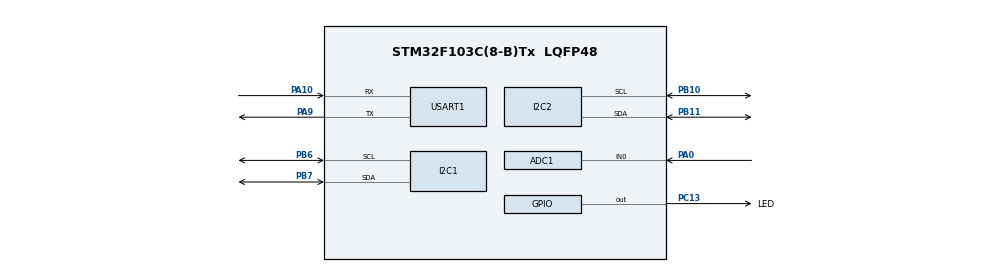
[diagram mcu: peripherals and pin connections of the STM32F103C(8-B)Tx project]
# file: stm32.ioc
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ADC1.Channel-0\#ChannelRegularConversion=ADC_CHANNEL_0
ADC1.NbrOfConversionFlag=1
ADC1.Rank-0\#ChannelRegularConversion=1
ADC1.SamplingTime-0\#ChannelRegularConversion=ADC_SAMPLETIME_1CYCLE_5
ADC1.master=1
Dma.ADC1.1.Direction=DMA_PERIPH_TO_MEMORY
Dma.ADC1.1.Instance=DMA1_Channel1
Dma.ADC1.1.MemDataAlignment=DMA_MDATAALIGN_HALFWORD
Dma.ADC1.1.MemInc=DMA_MINC_ENABLE
Dma.ADC1.1.Mode=DMA_NORMAL
Dma.ADC1.1.PeriphDataAlignment=DMA_PDATAALIGN_HALFWORD
Dma.ADC1.1.PeriphInc=DMA_PINC_DISABLE
Dma.ADC1.1.Priority=DMA_PRIORITY_LOW
Dma.Request0=USART1_RX
Dma.Request1=ADC1
Dma.USART1_RX.0.Direction=DMA_PERIPH_TO_MEMORY
Dma.USART1_RX.0.Instance=DMA1_Channel5
Dma.USART1_RX.0.MemDataAlignment=DMA_MDATAALIGN_BYTE
Dma.USART1_RX.0.MemInc=DMA_MINC_ENABLE
Dma.USART1_RX.0.Mode=DMA_NORMAL
Dma.USART1_RX.0.PeriphDataAlignment=DMA_PDATAALIGN_BYTE
Dma.USART1_RX.0.PeriphInc=DMA_PINC_DISABLE
Dma.USART1_RX.0.Priority=DMA_PRIORITY_LOW
I2C1.I2C_Mode=I2C_Fast
Mcu.Family=STM32F1
Mcu.Name=STM32F103C(8-B)Tx
Mcu.Package=LQFP48
NVIC.DMA1_Channel1_IRQn=true\:0\:0\:false\:false\:true\:false\:true\:true
NVIC.DMA1_Channel5_IRQn=true\:0\:0\:false\:false\:true\:false\:true\:true
NVIC.PriorityGroup=NVIC_PRIORITYGROUP_4
NVIC.USART1_IRQn=true\:0\:0\:false\:false\:true\:true\:true\:true
PA0-WKUP.Signal=ADCx_IN0
PA10.Mode=Asynchronous
PA10.Signal=USART1_RX
PA13.Mode=Serial_Wire
PA13.Signal=SYS_JTMS-SWDIO
PA14.Mode=Serial_Wire
PA14.Signal=SYS_JTCK-SWCLK
PA9.Mode=Asynchronous
PA9.Signal=USART1_TX
PB10.Mode=I2C
PB10.Signal=I2C2_SCL
PB11.Mode=I2C
PB11.Signal=I2C2_SDA
PB6.Mode=I2C
PB6.Signal=I2C1_SCL
PB7.Mode=I2C
PB7.Signal=I2C1_SDA
PC13-TAMPER-RTC.GPIO_Label=LED
PC13-TAMPER-RTC.PinState=GPIO_PIN_RESET
PC13-TAMPER-RTC.Signal=GPIO_Output
PD0-OSC_IN.Mode=HSE-External-Oscillator
PD0-OSC_IN.Signal=RCC_OSC_IN
PD1-OSC_OUT.Mode=HSE-External-Oscillator
PD1-OSC_OUT.Signal=RCC_OSC_OUT
ProjectManager.HeapSize=0x200
ProjectManager.StackSize=0x400
ProjectManager.TargetToolchain=STM32CubeIDE
RCC.APB1Freq_Value=8000000
RCC.APB2Freq_Value=8000000
SH.ADCx_IN0.0=ADC1_IN0,IN0
USART1.VirtualMode=VM_ASYNC
board=custom

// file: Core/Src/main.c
/* USER CODE BEGIN Header */
/**
 ******************************************************************************
 * @file           : main.c
 * @brief          : Main program body
 ******************************************************************************
 * @attention
 *
 * Copyright (c) 2025 STMicroelectronics.
 * All rights reserved.
 *
 * This software is licensed under terms that can be found in the LICENSE file
 * in the root directory of this software component.
 * If no LICENSE file comes with this software, it is provided AS-IS.
 *
 ******************************************************************************
 */
/* USER CODE END Header */
#include "main.h"

/* USER CODE BEGIN Includes */
#include "adc/adc.h"
#include "i2c/i2c.h"
#include "time/time.h"

#include "mpu/mpu.h"

#include "game/game.h"
/* USER CODE END Includes */

ADC_HandleTypeDef hadc1;
DMA_HandleTypeDef hdma_adc1;

I2C_HandleTypeDef hi2c1;
I2C_HandleTypeDef hi2c2;

UART_HandleTypeDef huart1;
DMA_HandleTypeDef hdma_usart1_rx;

void SystemClock_Config(void);
static void MX_GPIO_Init(void);
static void MX_DMA_Init(void);
static void MX_USART1_UART_Init(void);
static void MX_I2C1_Init(void);
static void MX_ADC1_Init(void);
static void MX_I2C2_Init(void);

int main(void)
{

  /* MCU Configuration--------------------------------------------------------*/

  /* Reset of all peripherals, Initializes the Flash interface and the Systick. */
  HAL_Init();

  /* USER CODE BEGIN Init */
  struct BSP_OLED_TypeDef oled = {E_I2C_1, 0x78};
  struct BSP_MPU_TypeDef mpu   = {E_I2C_2, 0x68 << 1};
  struct game_t game;

  float k = 150.f;
  /* USER CODE END Init */

  /* Configure the system clock */
  SystemClock_Config();

  /* Initialize all configured peripherals */
  MX_GPIO_Init();
  MX_DMA_Init();
  MX_USART1_UART_Init();
  MX_I2C1_Init();
  MX_ADC1_Init();
  MX_I2C2_Init();
  /* USER CODE BEGIN 2 */
  BSP_ADC_Init(&hadc1);
  BSP_I2C_Init(E_I2C_1, &hi2c1);
  BSP_I2C_Init(E_I2C_2, &hi2c2);
  BSP_OLED_Init(oled);
  BSP_MPU_Init(mpu);
  APP_GAME_InitPreset(&game, E_GAME_6x);
  /* USER CODE END 2 */

  /* Infinite loop */
  /* USER CODE BEGIN WHILE */
  APP_GAME_Flush(&game, oled);
  uint32_t time = BSP_TIME_GetMillis();
  while (1) {
    uint32_t now = BSP_TIME_GetMillis();
    vec3f_t a    = BSP_MPU_GetAccel(mpu);
    float dt     = (float)(now - time) / 1e3f;
    APP_GAME_AddPlayerVelocity(&game, -k * a.y * dt, -k * a.x * dt);
    APP_GAME_Update(&game, oled, dt);
    BSP_TIME_Delay(5);
    /* USER CODE END WHILE */

    /* USER CODE BEGIN 3 */
    time = now;
  }
  // APP_GAME_Free(&game);
  /* USER CODE END 3 */
}

void SystemClock_Config(void)
{
  RCC_OscInitTypeDef RCC_OscInitStruct   = {0};
  RCC_ClkInitTypeDef RCC_ClkInitStruct   = {0};
  RCC_PeriphCLKInitTypeDef PeriphClkInit = {0};

  /** Initializes the RCC Oscillators according to the specified parameters
   * in the RCC_OscInitTypeDef structure.
   */
  RCC_OscInitStruct.OscillatorType      = RCC_OSCILLATORTYPE_HSI;
  RCC_OscInitStruct.HSIState            = RCC_HSI_ON;
  RCC_OscInitStruct.HSICalibrationValue = RCC_HSICALIBRATION_DEFAULT;
  RCC_OscInitStruct.PLL.PLLState        = RCC_PLL_NONE;
  if (HAL_RCC_OscConfig(&RCC_OscInitStruct) != HAL_OK) {
    Error_Handler();
  }

  /** Initializes the CPU, AHB and APB buses clocks
   */
  RCC_ClkInitStruct.ClockType = RCC_CLOCKTYPE_HCLK | RCC_CLOCKTYPE_SYSCLK | RCC_CLOCKTYPE_PCLK1 | RCC_CLOCKTYPE_PCLK2;
  RCC_ClkInitStruct.SYSCLKSource   = RCC_SYSCLKSOURCE_HSI;
  RCC_ClkInitStruct.AHBCLKDivider  = RCC_SYSCLK_DIV1;
  RCC_ClkInitStruct.APB1CLKDivider = RCC_HCLK_DIV1;
  RCC_ClkInitStruct.APB2CLKDivider = RCC_HCLK_DIV1;

  if (HAL_RCC_ClockConfig(&RCC_ClkInitStruct, FLASH_LATENCY_0) != HAL_OK) {
    Error_Handler();
  }
  PeriphClkInit.PeriphClockSelection = RCC_PERIPHCLK_ADC;
  PeriphClkInit.AdcClockSelection    = RCC_ADCPCLK2_DIV2;
  if (HAL_RCCEx_PeriphCLKConfig(&PeriphClkInit) != HAL_OK) {
    Error_Handler();
  }
}

static void MX_ADC1_Init(void)
{

  ADC_ChannelConfTypeDef sConfig = {0};

  /** Common config
   */
  hadc1.Instance                   = ADC1;
  hadc1.Init.ScanConvMode          = ADC_SCAN_DISABLE;
  hadc1.Init.ContinuousConvMode    = DISABLE;
  hadc1.Init.DiscontinuousConvMode = DISABLE;
  hadc1.Init.ExternalTrigConv      = ADC_SOFTWARE_START;
  hadc1.Init.DataAlign             = ADC_DATAALIGN_RIGHT;
  hadc1.Init.NbrOfConversion       = 1;
  if (HAL_ADC_Init(&hadc1) != HAL_OK) {
    Error_Handler();
  }

  /** Configure Regular Channel
   */
  sConfig.Channel      = ADC_CHANNEL_0;
  sConfig.Rank         = ADC_REGULAR_RANK_1;
  sConfig.SamplingTime = ADC_SAMPLETIME_1CYCLE_5;
  if (HAL_ADC_ConfigChannel(&hadc1, &sConfig) != HAL_OK) {
    Error_Handler();
  }
}

static void MX_I2C1_Init(void)
{

  hi2c1.Instance             = I2C1;
  hi2c1.Init.ClockSpeed      = 400000;
  hi2c1.Init.DutyCycle       = I2C_DUTYCYCLE_2;
  hi2c1.Init.OwnAddress1     = 0;
  hi2c1.Init.AddressingMode  = I2C_ADDRESSINGMODE_7BIT;
  hi2c1.Init.DualAddressMode = I2C_DUALADDRESS_DISABLE;
  hi2c1.Init.OwnAddress2     = 0;
  hi2c1.Init.GeneralCallMode = I2C_GENERALCALL_DISABLE;
  hi2c1.Init.NoStretchMode   = I2C_NOSTRETCH_DISABLE;
  if (HAL_I2C_Init(&hi2c1) != HAL_OK) {
    Error_Handler();
  }
}

static void MX_I2C2_Init(void)
{

  hi2c2.Instance             = I2C2;
  hi2c2.Init.ClockSpeed      = 100000;
  hi2c2.Init.DutyCycle       = I2C_DUTYCYCLE_2;
  hi2c2.Init.OwnAddress1     = 0;
  hi2c2.Init.AddressingMode  = I2C_ADDRESSINGMODE_7BIT;
  hi2c2.Init.DualAddressMode = I2C_DUALADDRESS_DISABLE;
  hi2c2.Init.OwnAddress2     = 0;
  hi2c2.Init.GeneralCallMode = I2C_GENERALCALL_DISABLE;
  hi2c2.Init.NoStretchMode   = I2C_NOSTRETCH_DISABLE;
  if (HAL_I2C_Init(&hi2c2) != HAL_OK) {
    Error_Handler();
  }
}

static void MX_USART1_UART_Init(void)
{

  huart1.Instance          = USART1;
  huart1.Init.BaudRate     = 115200;
  huart1.Init.WordLength   = UART_WORDLENGTH_8B;
  huart1.Init.StopBits     = UART_STOPBITS_1;
  huart1.Init.Parity       = UART_PARITY_NONE;
  huart1.Init.Mode         = UART_MODE_TX_RX;
  huart1.Init.HwFlowCtl    = UART_HWCONTROL_NONE;
  huart1.Init.OverSampling = UART_OVERSAMPLING_16;
  if (HAL_UART_Init(&huart1) != HAL_OK) {
    Error_Handler();
  }
}

static void MX_DMA_Init(void)
{

  /* DMA controller clock enable */
  __HAL_RCC_DMA1_CLK_ENABLE();

  /* DMA interrupt init */
  /* DMA1_Channel1_IRQn interrupt configuration */
  HAL_NVIC_SetPriority(DMA1_Channel1_IRQn, 0, 0);
  HAL_NVIC_EnableIRQ(DMA1_Channel1_IRQn);
  /* DMA1_Channel5_IRQn interrupt configuration */
  HAL_NVIC_SetPriority(DMA1_Channel5_IRQn, 0, 0);
  HAL_NVIC_EnableIRQ(DMA1_Channel5_IRQn);
}

static void MX_GPIO_Init(void)
{
  GPIO_InitTypeDef GPIO_InitStruct = {0};

  /* GPIO Ports Clock Enable */
  __HAL_RCC_GPIOC_CLK_ENABLE();
  __HAL_RCC_GPIOD_CLK_ENABLE();
  __HAL_RCC_GPIOA_CLK_ENABLE();
  __HAL_RCC_GPIOB_CLK_ENABLE();

  /*Configure GPIO pin Output Level */
  HAL_GPIO_WritePin(LED_GPIO_Port, LED_Pin, GPIO_PIN_RESET);

  /*Configure GPIO pin : LED_Pin */
  GPIO_InitStruct.Pin   = LED_Pin;
  GPIO_InitStruct.Mode  = GPIO_MODE_OUTPUT_PP;
  GPIO_InitStruct.Pull  = GPIO_NOPULL;
  GPIO_InitStruct.Speed = GPIO_SPEED_FREQ_LOW;
  HAL_GPIO_Init(LED_GPIO_Port, &GPIO_InitStruct);

}

void Error_Handler(void)
{
  __disable_irq();
  while (1) {
  }
}
